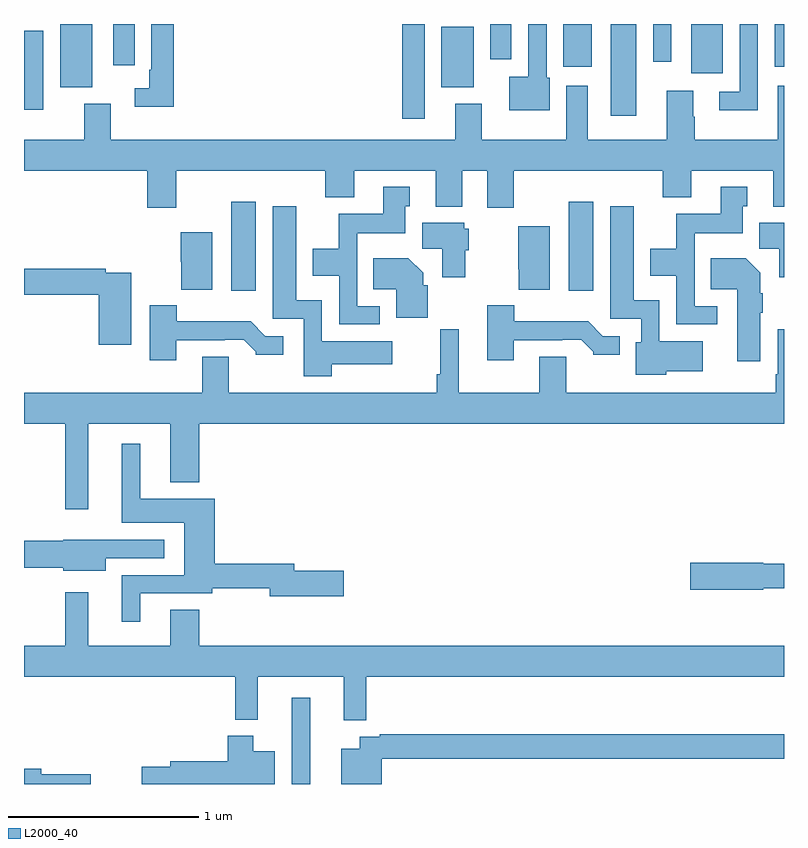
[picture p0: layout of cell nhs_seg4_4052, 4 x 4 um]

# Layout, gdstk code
import gdstk
lib = gdstk.Library(unit=1e-6, precision=1e-09)
def R(c, l, rs):  # rectangles x0, y0, x1, y1
    for r in rs: c.add(gdstk.rectangle(r[:2], r[2:], *l))
def P(c, l, *ps):  # polygons
    for p in ps: c.add(gdstk.Polygon(p, *l))
L2000_40 = (2000, 40)

nhs_seg4_4052 = lib.new_cell('nhs_seg4_4052')
R(nhs_seg4_4052, L2000_40, [(326.409,818.9,326.506,819.355), (326.09,821.496,326.221,821.965), (327.866,821.496,327.997,821.965), (326.992,822.402,327.108,822.9), (328.088,822.417,328.222,822.9), (325,822.45,325.102,822.865), (325.19,822.566,325.36,822.9), (327.197,822.566,327.367,822.886), (328.511,822.642,328.678,822.9), (327.839,822.675,327.988,822.9), (328.952,822.675,329,822.9), (325.47,822.684,325.582,822.9), (328.311,822.702,328.407,822.9), (327.455,822.714,327.565,822.9)])
P(nhs_seg4_4052, L2000_40, [(327.766,822.618),(327.75,822.618),(327.75,822.9),(327.654,822.9),(327.654,822.622),(327.554,822.622),(327.554,822.446),(327.766,822.446)],
  [(325.787,822.9),(325.671,822.9),(325.671,822.658),(325.659,822.658),(325.659,822.561),(325.584,822.561),(325.584,822.464),(325.787,822.464)],
  [(328.863,822.9),(328.767,822.9),(328.767,822.543),(328.659,822.543),(328.659,822.446),(328.863,822.446)],
  [(325.649,821.934),(325.801,821.934),(325.801,822.128),(326.585,822.128),(326.585,821.987),(326.737,821.987),(326.737,822.128),(327.167,822.128),(327.167,821.939),(327.307,821.939),(327.307,822.128),(327.437,822.128),(327.437,821.934),(327.577,821.934),(327.577,822.128),(328.361,822.128),(328.361,821.987),(328.513,821.987),(328.513,822.128),(328.943,822.128),(328.943,821.939),(329,821.939),(329,822.574),(328.967,822.574),(328.967,822.292),(328.53,822.292),(328.53,822.413),(328.522,822.413),(328.522,822.55),(328.382,822.55),(328.382,822.292),(327.967,822.292),(327.967,822.574),(327.854,822.574),(327.854,822.292),(327.409,822.292),(327.409,822.481),(327.269,822.481),(327.269,822.292),(325.456,822.292),(325.456,822.481),(325.316,822.481),(325.316,822.292),(325,822.292),(325,822.128),(325.649,822.128)],
  [(326.872,821.415),(326.754,821.415),(326.754,821.798),(327.007,821.798),(327.007,821.94),(327.031,821.94),(327.031,822.043),(326.891,822.043),(326.891,821.902),(326.656,821.902),(326.656,821.716),(326.519,821.716),(326.519,821.576),(326.658,821.576),(326.658,821.319),(326.872,821.319)],
  [(328.648,821.415),(328.53,821.415),(328.53,821.798),(328.783,821.798),(328.783,821.94),(328.807,821.94),(328.807,822.043),(328.667,822.043),(328.667,821.902),(328.432,821.902),(328.432,821.716),(328.295,821.716),(328.295,821.576),(328.434,821.576),(328.434,821.319),(328.648,821.319)],
  [(326.621,821.108),(326.938,821.108),(326.938,821.23),(326.568,821.23),(326.568,821.446),(326.434,821.446),(326.434,821.941),(326.309,821.941),(326.309,821.349),(326.472,821.349),(326.472,821.046),(326.621,821.046)],
  [(328.38,821.072),(328.573,821.072),(328.573,821.23),(328.344,821.23),(328.344,821.446),(328.21,821.446),(328.21,821.941),(328.085,821.941),(328.085,821.349),(328.248,821.349),(328.248,821.226),(328.22,821.226),(328.22,821.054),(328.38,821.054)],
  [(329,821.854),(328.871,821.854),(328.871,821.716),(328.976,821.716),(328.976,821.568),(329,821.568)],
  [(327.322,821.709),(327.34,821.709),(327.34,821.823),(327.318,821.823),(327.318,821.854),(327.095,821.854),(327.095,821.716),(327.2,821.716),(327.2,821.568),(327.322,821.568)],
  [(327.766,821.836),(327.602,821.836),(327.602,821.608),(327.604,821.608),(327.604,821.501),(327.766,821.501)],
  [(325.99,821.803),(325.826,821.803),(325.826,821.649),(325.828,821.649),(325.828,821.501),(325.99,821.501)],
  [(327.126,821.526),(327.1,821.526),(327.1,821.59),(327.022,821.668),(326.839,821.668),(326.839,821.504),(326.96,821.504),(326.96,821.354),(327.126,821.354)],
  [(328.876,821.38),(328.889,821.38),(328.889,821.483),(328.876,821.483),(328.876,821.59),(328.798,821.668),(328.615,821.668),(328.615,821.504),(328.754,821.504),(328.754,821.124),(328.876,821.124)],
  [(325.564,821.592),(325.43,821.592),(325.43,821.612),(325,821.612),(325,821.476),(325.394,821.476),(325.394,821.211),(325.564,821.211)],
  [(327.577,821.235),(327.833,821.235),(327.833,821.238),(327.932,821.238),(327.996,821.174),(327.996,821.159),(328.135,821.159),(328.135,821.256),(328.047,821.256),(327.969,821.335),(327.58,821.335),(327.58,821.419),(327.437,821.419),(327.437,821.13),(327.577,821.13)],
  [(325.801,821.235),(326.057,821.235),(326.057,821.238),(326.156,821.238),(326.22,821.174),(326.22,821.159),(326.365,821.159),(326.365,821.256),(326.271,821.256),(326.193,821.335),(325.804,821.335),(325.804,821.419),(325.661,821.419),(325.661,821.13),(325.801,821.13)],
  [(329,821.293),(328.968,821.293),(328.968,821.056),(328.956,821.056),(328.956,820.96),(327.853,820.96),(327.853,821.15),(327.713,821.15),(327.713,820.96),(327.289,820.96),(327.289,821.293),(327.19,821.293),(327.19,821.056),(327.172,821.056),(327.172,820.96),(326.077,820.96),(326.077,821.15),(325.937,821.15),(325.937,820.96),(325,820.96),(325,820.796),(325.218,820.796),(325.218,820.347),(325.339,820.347),(325.339,820.796),(325.769,820.796),(325.769,820.487),(325.922,820.487),(325.922,820.796),(329,820.796)],
  [(325.612,819.903),(325.99,819.903),(325.99,819.93),(326.294,819.93),(326.294,819.887),(326.683,819.887),(326.683,820.022),(326.422,820.022),(326.422,820.058),(326.003,820.058),(326.003,820.402),(325.612,820.402),(325.612,820.69),(325.514,820.69),(325.514,820.274),(325.844,820.274),(325.844,819.999),(325.514,819.999),(325.514,819.753),(325.612,819.753)],
  [(325.429,820.089),(325.738,820.089),(325.738,820.185),(325.425,820.185),(325.425,820.186),(325.206,820.186),(325.206,820.181),(325,820.181),(325,820.039),(325.206,820.039),(325.206,820.022),(325.429,820.022)],
  [(328.89,819.93),(329,819.93),(329,820.058),(328.89,820.058),(328.89,820.064),(328.506,820.064),(328.506,819.922),(328.89,819.922)],
  [(326.801,819.464),(329,819.464),(329,819.628),(325.922,819.628),(325.922,819.818),(325.769,819.818),(325.769,819.628),(325.339,819.628),(325.339,819.91),(325.218,819.91),(325.218,819.628),(325,819.628),(325,819.464),(326.113,819.464),(326.113,819.239),(326.231,819.239),(326.231,819.464),(326.684,819.464),(326.684,819.235),(326.801,819.235)],
  [(326.884,819.034),(329,819.034),(329,819.163),(326.872,819.163),(326.872,819.15),(326.768,819.15),(326.768,819.085),(326.669,819.085),(326.669,818.9),(326.884,818.9)],
  [(326.32,819.073),(326.206,819.073),(326.206,819.154),(326.072,819.154),(326.072,819.021),(325.769,819.021),(325.769,818.991),(325.62,818.991),(325.62,818.9),(326.32,818.9)],
  [(325.351,818.951),(325.09,818.951),(325.09,818.98),(325,818.98),(325,818.9),(325.351,818.9)])

lib.write_gds('nhs_seg4_4052.gds')
